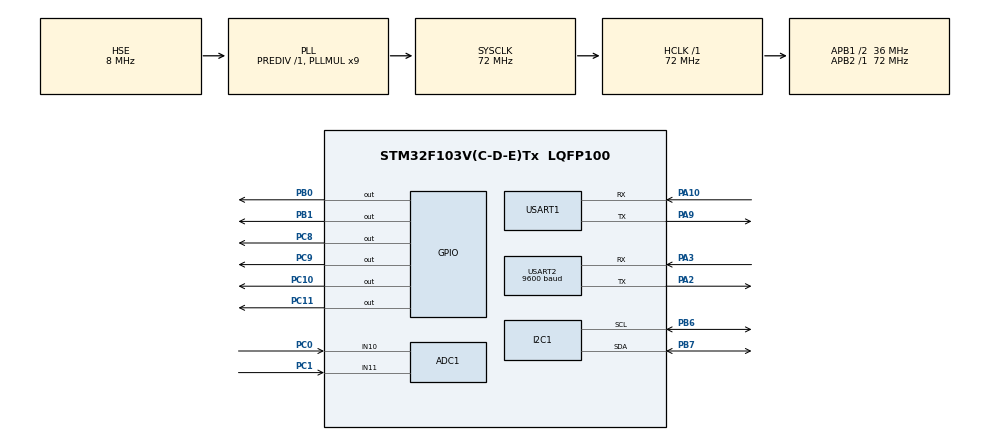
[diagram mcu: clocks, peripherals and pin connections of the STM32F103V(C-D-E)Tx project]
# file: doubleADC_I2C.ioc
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ADC1.Channel-0\#ChannelRegularConversion=ADC_CHANNEL_10
ADC1.Channel-1\#ChannelRegularConversion=ADC_CHANNEL_11
ADC1.ContinuousConvMode=ENABLE
ADC1.NbrOfConversion=2
ADC1.NbrOfConversionFlag=1
ADC1.Rank-0\#ChannelRegularConversion=1
ADC1.Rank-1\#ChannelRegularConversion=2
ADC1.SamplingTime-0\#ChannelRegularConversion=ADC_SAMPLETIME_1CYCLE_5
ADC1.SamplingTime-1\#ChannelRegularConversion=ADC_SAMPLETIME_1CYCLE_5
ADC1.master=1
Dma.ADC1.0.Direction=DMA_PERIPH_TO_MEMORY
Dma.ADC1.0.Instance=DMA1_Channel1
Dma.ADC1.0.MemDataAlignment=DMA_MDATAALIGN_HALFWORD
Dma.ADC1.0.MemInc=DMA_MINC_ENABLE
Dma.ADC1.0.Mode=DMA_CIRCULAR
Dma.ADC1.0.PeriphDataAlignment=DMA_PDATAALIGN_HALFWORD
Dma.ADC1.0.PeriphInc=DMA_PINC_DISABLE
Dma.ADC1.0.Priority=DMA_PRIORITY_HIGH
Dma.Request0=ADC1
Mcu.Family=STM32F1
Mcu.Name=STM32F103V(C-D-E)Tx
Mcu.Package=LQFP100
NVIC.DMA1_Channel1_IRQn=true\:0\:0\:false\:false\:true\:false\:true\:true
NVIC.PriorityGroup=NVIC_PRIORITYGROUP_4
OSC_IN.Mode=HSE-External-Oscillator
OSC_IN.Signal=RCC_OSC_IN
OSC_OUT.Mode=HSE-External-Oscillator
OSC_OUT.Signal=RCC_OSC_OUT
PA10.Mode=Asynchronous
PA10.Signal=USART1_RX
PA2.Mode=Asynchronous
PA2.Signal=USART2_TX
PA3.Mode=Asynchronous
PA3.Signal=USART2_RX
PA9.Mode=Asynchronous
PA9.Signal=USART1_TX
PB0.Signal=GPIO_Output
PB1.Signal=GPIO_Output
PB6.Mode=I2C
PB6.Signal=I2C1_SCL
PB7.Mode=I2C
PB7.Signal=I2C1_SDA
PC0.Signal=ADCx_IN10
PC1.Signal=ADCx_IN11
PC10.Signal=GPIO_Output
PC11.Signal=GPIO_Output
PC8.Signal=GPIO_Output
PC9.Signal=GPIO_Output
ProjectManager.HeapSize=0x200
ProjectManager.StackSize=0x400
ProjectManager.TargetToolchain=MDK-ARM V5
RCC.ADCPresc=RCC_ADCPCLK2_DIV6
RCC.AHBFreq_Value=72000000
RCC.APB1CLKDivider=RCC_HCLK_DIV2
RCC.APB1Freq_Value=36000000
RCC.APB1TimFreq_Value=72000000
RCC.APB2Freq_Value=72000000
RCC.APB2TimFreq_Value=72000000
RCC.HCLKFreq_Value=72000000
RCC.PLLMUL=RCC_PLL_MUL9
RCC.PLLSourceVirtual=RCC_PLLSOURCE_HSE
RCC.SYSCLKFreq_VALUE=72000000
RCC.SYSCLKSource=RCC_SYSCLKSOURCE_PLLCLK
RCC.USBFreq_Value=72000000
SH.ADCx_IN10.0=ADC1_IN10,IN10
SH.ADCx_IN11.0=ADC1_IN11,IN11
USART1.VirtualMode=VM_ASYNC
USART2.BaudRate=9600
USART2.VirtualMode=VM_ASYNC
VP_SYS_VS_ND.Mode=No_Debug
board=custom

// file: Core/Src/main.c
/* USER CODE BEGIN Header */
/**
 ******************************************************************************
 * @file           : main.c
 * @brief          : Main program body
 ******************************************************************************
 * @attention
 *
 * Copyright (c) 2023 STMicroelectronics.
 * All rights reserved.
 *
 * This software is licensed under terms that can be found in the LICENSE file
 * in the root directory of this software component.
 * If no LICENSE file comes with this software, it is provided AS-IS.
 *
 * 李萨如图形演示装置软件程序，ADC双通道采样x、y轴信号，GPIO引脚输出高低电平控制4051选择合适的电路通路，输出指定频率、波形的信号。
 * 对一次采样的点进行分析处理后，计算两信号相位差，计算得到峰峰值，反馈调节数字电阻TPA0401的分压阻值，实现信号幅度控制。
 * 与广州大彩串口屏串口通讯，打印设定值，打印李萨如图形。
 ******************************************************************************
 */
/* USER CODE END Header */
#include "main.h"
#include "adc.h"
#include "dma.h"
#include "i2c.h"
#include "usart.h"
#include "gpio.h"

/* USER CODE BEGIN Includes */
#include <stdio.h>
#include "hmi_driver.h"
#include "hmi_user_uart.h"
#include "fft.h"
/* USER CODE END Includes */

/* USER CODE BEGIN PD */
#define ADC_BUFFER_LENGTH 2048
#define NPT 1024
#define Fs 321428
#define Pi 3.1415
/* USER CODE END PD */

/* USER CODE BEGIN PV */
uint8_t Counter_Freq = 1;     // 4 pins
uint8_t Selecter_Voltage = 1; // 3 pins
uint8_t Wave_Form = 0;        // 0 is 三角波，1 is 正弦波
uint8_t Output_Mode = 0;      // 0 for 4 pins, 1 for 3 pins
uint16_t ADC_Value[ADC_BUFFER_LENGTH];
uchar stringtemp[100];
uchar Res = 0x1A;
uchar Res_High = 0x7F;
uchar Res_Low = 0x00;

float PC0_Max = 0, PC1_Max = 0;
uint32_t PC0_MaxIndex, PC0_MinIndex, PC1_MaxIndex, PC1_MinIndex;
float PC0_Min = 4095, PC1_Min = 4095;
float PC0_Vpp = 0;
float PC1_Vpp = 0;
float PC0_Real[NPT];
float PC1_Real[NPT];
float PC1_Out[NPT],PC1_Mag[NPT];
float phase;

/* USER CODE END PV */

void SystemClock_Config(void);

/* USER CODE BEGIN 0 */
/** 按键按下标置宏
 * 按键按下为高电平，设置 KEY_ON=1， KEY_OFF=0
 * 若按键按下为低电平，把宏设置成KEY_ON=0 ，KEY_OFF=1 即可
 */
#define KEY_ON 1
#define KEY_OFF 0

/**
 * @brief   检测是否有按键按下
 * @param  GPIOx:具体的端口, x可以是（A...G）
 * @param  GPIO_PIN:具体的端口位， 可以是GPIO_PIN_x（x可以是0...15）
 * @retval  按键的状态
 *     @arg KEY_ON:按键按下
 *     @arg KEY_OFF:按键没按下
 */
uint8_t Key_Scan(GPIO_TypeDef *GPIOx, uint16_t GPIO_Pin)
{
  /*检测是否有按键按下 */
  if (HAL_GPIO_ReadPin(GPIOx, GPIO_Pin) == KEY_ON)
  {
    /*等待按键释放 */
    while (HAL_GPIO_ReadPin(GPIOx, GPIO_Pin) == KEY_ON)
      ;
    return KEY_ON;
  }
  else
    return KEY_OFF;
}

int fputc(int ch, FILE *f)
{
  HAL_UART_Transmit(&huart1, (uint8_t *)&ch, 1, 0xFFFF);
  return ch;
}

int Set_Signal_Value(int set_value, int Vpp, uchar *address, uchar *address_high, uchar *address_low)
{
  int set_value_mid = set_value * 40960 / 33;
  int set_value_min = set_value_mid - 150;
  int set_value_max = set_value_mid + 150;
  if (Vpp > set_value_max + 1000)
  {
    (*address) = *address - 4;
  }
  else if (Vpp < set_value_min - 1000)
  {
    (*address) = *address + 4;
  }
  else if (Vpp > set_value_max)
  {
    (*address) = *address - 1;
  }
  else if (Vpp < set_value_min)
  {
    (*address) = *address + 1;
  }
}

void Lissajous_Figures(uint16 *xdata, uint16 *ydata, uint16 x0, uint16 y0, uint16 N)
{
  for (int i = 0; i < N - 3; i += 2)
  {
    uint16 x_start = ADC_Value[i] / 16 + x0;
    uint16 y_start = ADC_Value[i + 1] / 16 + y0;
    GUI_Dot(x_start, y_start);
  }
}
void HAL_GPIO_EXTI_Callback(uint16_t GPIO_Pin)
{
  /* EXTI line interrupt detected */
  if (GPIO_Pin == GPIO_PIN_0)
  {
    HAL_GPIO_TogglePin(GPIOB, GPIO_PIN_1);
    if (Output_Mode == 0)
    {
      Counter_Freq = (Counter_Freq) % 5 + 1;
      printf("Counter_Freq = %d, Selecter_Voltage = %d, Output_Mode = %d\r\n", Counter_Freq, Selecter_Voltage,
             Output_Mode); // 0 for Freq, 1 for Voltage
    }
    else if (Output_Mode == 1)
    {
      Selecter_Voltage = (Selecter_Voltage) % 3 + 1;
      Res = 0x40;
      Res_High = 0x7F;
      Res_Low = 0x00;
      Set_TPL0401A_Value(Res);
      printf("Counter_Freq = %d, Selecter_Voltage = %d, Output_Mode = %d\r\n", Counter_Freq, Selecter_Voltage,
             Output_Mode); // 0 for Freq, 1 for Voltage
    }
    else if (Output_Mode == 2)
    {
      Wave_Form = 1 - Wave_Form;
      if (Wave_Form)
      {
        printf("output sine wave \r\n");
      }
      else
      {
        printf("output Triangle Wave \r\n ");
      }
    }
  }

  if (GPIO_Pin == GPIO_PIN_13)
  {
    HAL_GPIO_TogglePin(GPIOB, GPIO_PIN_0);
    Output_Mode = Output_Mode == 3 ? 0 : Output_Mode + 1;
    if (Wave_Form)
    {
      printf("output sine wave  ");
    }
    else
    {
      printf("output Triangle Wave  ");
    }
    printf("Counter_Freq = %d, Selecter_Voltage = %d, Output_Mode = %d, Res = %d\r\n", Counter_Freq, Selecter_Voltage,
           Output_Mode, Res); // 0 for Freq, 1 for Voltage

    if (Output_Mode == 1)
    {
      printf("select voltage ---> \r\n");
    }
    else if (Output_Mode == 0)
    {
      printf("select frequency ---> \r\n");
    }
    else
    {
      printf("select waveform ---> \r\n");
    }
  }
}
int Select_Max_Number(float *pData, int N)
{
    for (int i = 1; i < N; i++)
    {
        if (pData[i] > pData[i - 1] && pData[i] >= pData[i + 1])
        {
            printf("%d,%d,%d\n", pData[i - 1], pData[i], pData[i + 1]);
            return i;
        }
    }
}
/* USER CODE END 0 */

int main(void)
{

  /* MCU Configuration--------------------------------------------------------*/

  /* Reset of all peripherals, Initializes the Flash interface and the Systick. */
  HAL_Init();

  /* Configure the system clock */
  SystemClock_Config();

  /* Initialize all configured peripherals */
  MX_GPIO_Init();
  MX_DMA_Init();
  MX_ADC1_Init();
  MX_I2C1_Init();
  MX_USART1_UART_Init();
  MX_USART2_UART_Init();
  /* USER CODE BEGIN 2 */
  TPL0401A_Init();
  /* USER CODE END 2 */

  /* Infinite loop */
  /* USER CODE BEGIN WHILE */
  SetBcolor(0x0000);
  SetFcolor(0x0000); // black
  GUI_RectangleFill(50, 200, 50 + 300, 200 + 300);
  SetFcolor(0x07E0); // light green
  while (1)
  {
    switch (Counter_Freq)
    {
    case 1: // 一倍频，选择频率八路选择器的1端
      HAL_GPIO_WritePin(GPIOC, GPIO_PIN_8, 0);
      HAL_GPIO_WritePin(GPIOC, GPIO_PIN_9, 0);
      HAL_GPIO_WritePin(GPIOC, GPIO_PIN_10, 0);
      HAL_GPIO_WritePin(GPIOC, GPIO_PIN_11, 0);
      HAL_GPIO_WritePin(GPIOB, GPIO_PIN_8, 1);
      if (Wave_Form == 0) // 三角波输出，在滤波八路选择的0端
      {
        HAL_GPIO_WritePin(GPIOC, GPIO_PIN_6, 0);
        HAL_GPIO_WritePin(GPIOC, GPIO_PIN_7, 0);
      }
      else // 一倍频，1.5k-2k，选择2k滤波器，滤波八路选择的1端
      {
        HAL_GPIO_WritePin(GPIOC, GPIO_PIN_6, 1);
        HAL_GPIO_WritePin(GPIOC, GPIO_PIN_7, 0);
      }
      break;
    case 2: // 二倍频，选择频率八路选择器的0端，计数器设置为14
      HAL_GPIO_WritePin(GPIOC, GPIO_PIN_8, 0);
      HAL_GPIO_WritePin(GPIOC, GPIO_PIN_9, 1);
      HAL_GPIO_WritePin(GPIOC, GPIO_PIN_10, 1);
      HAL_GPIO_WritePin(GPIOC, GPIO_PIN_11, 1);
      HAL_GPIO_WritePin(GPIOB, GPIO_PIN_8, 0);
      if (Wave_Form == 0)
      {
        HAL_GPIO_WritePin(GPIOC, GPIO_PIN_6, 0);
        HAL_GPIO_WritePin(GPIOC, GPIO_PIN_7, 0);
      }
      else // 二倍频，3k-4k，选择频率八路选择的2端
      {
        HAL_GPIO_WritePin(GPIOC, GPIO_PIN_6, 0);
        HAL_GPIO_WritePin(GPIOC, GPIO_PIN_7, 1);
      }
      break;
    case 3: // 三倍频，选择频率八路选择器的0端，计数器设置为13
      HAL_GPIO_WritePin(GPIOC, GPIO_PIN_8, 1);
      HAL_GPIO_WritePin(GPIOC, GPIO_PIN_9, 0);
      HAL_GPIO_WritePin(GPIOC, GPIO_PIN_10, 1);
      HAL_GPIO_WritePin(GPIOC, GPIO_PIN_11, 1);
      HAL_GPIO_WritePin(GPIOB, GPIO_PIN_8, 0);
      if (Wave_Form == 0)
      {
        HAL_GPIO_WritePin(GPIOC, GPIO_PIN_6, 0);
        HAL_GPIO_WritePin(GPIOC, GPIO_PIN_7, 0);
      }
      else // 三倍频，4.5k-6k，选择频率八路选择的2端
      {
        HAL_GPIO_WritePin(GPIOC, GPIO_PIN_6, 0);
        HAL_GPIO_WritePin(GPIOC, GPIO_PIN_7, 1);
      }
      break;
    case 4: // 四倍频，选择频率八路选择器的0端，计数器设置为12
      HAL_GPIO_WritePin(GPIOC, GPIO_PIN_8, 0);
      HAL_GPIO_WritePin(GPIOC, GPIO_PIN_9, 0);
      HAL_GPIO_WritePin(GPIOC, GPIO_PIN_10, 1);
      HAL_GPIO_WritePin(GPIOC, GPIO_PIN_11, 1);
      HAL_GPIO_WritePin(GPIOB, GPIO_PIN_8, 0);
      if (Wave_Form == 0)
      {
        HAL_GPIO_WritePin(GPIOC, GPIO_PIN_6, 0);
        HAL_GPIO_WritePin(GPIOC, GPIO_PIN_7, 0);
      }
      else // 四倍频，6k-8k，选择频率八路选择的3端
      {
        HAL_GPIO_WritePin(GPIOC, GPIO_PIN_6, 1);
        HAL_GPIO_WritePin(GPIOC, GPIO_PIN_7, 1);
      }
      break;
    case 5: // 五倍频，选择频率八路选择器的0端，计数器设置为11
      HAL_GPIO_WritePin(GPIOC, GPIO_PIN_8, 1);
      HAL_GPIO_WritePin(GPIOC, GPIO_PIN_9, 1);
      HAL_GPIO_WritePin(GPIOC, GPIO_PIN_10, 0);
      HAL_GPIO_WritePin(GPIOC, GPIO_PIN_11, 1);
      HAL_GPIO_WritePin(GPIOB, GPIO_PIN_8, 0);
      if (Wave_Form == 0)
      {
        HAL_GPIO_WritePin(GPIOC, GPIO_PIN_6, 0);
        HAL_GPIO_WritePin(GPIOC, GPIO_PIN_7, 0);
      }
      else // 五倍频，7.5k-10k，选择频率八路选择的3端
      {
        HAL_GPIO_WritePin(GPIOC, GPIO_PIN_6, 1);
        HAL_GPIO_WritePin(GPIOC, GPIO_PIN_7, 1);
      }
      break;
    }

    ADC_ConversionStop_Disable(&hadc1);
    HAL_ADC_Start_DMA(&hadc1, (uint32_t *)&ADC_Value, ADC_BUFFER_LENGTH);
    HAL_Delay(20);
    HAL_GPIO_TogglePin(GPIOB, GPIO_PIN_1); // LED_Blue
    // SetTextValue(0,1,(uchar *)"hello,world!");
    // SetTextInt32(0,5,ADC_Value[0],0,4);

    PC0_Max = 0, PC1_Max = 0;
    PC0_Min = 4095, PC1_Min = 4095;
    PC0_Vpp = 0;
    PC1_Vpp = 0;

    for (int i = 0; i < NPT; i++)
    {
      PC0_Real[i] = (float)ADC_Value[i * 2];
      PC1_Real[i] = (float)ADC_Value[i * 2 + 1];
    }

    arm_max_f32(PC0_Real, NPT, &PC0_Max, &PC0_MaxIndex); // find max value of fft_in_buf[]
    arm_min_f32(PC0_Real, NPT, &PC0_Min, &PC0_MinIndex); // find min value of fft_in_buf[]
    PC0_Vpp = PC0_Max - PC0_Min;
    arm_max_f32(PC1_Real, NPT, &PC1_Max, &PC1_MaxIndex); // find max value of fft_in_buf[]
    arm_min_f32(PC1_Real, NPT, &PC1_Min, &PC1_MinIndex); // find min value of fft_in_buf[]
    PC1_Vpp = PC1_Max - PC1_Min;
    HAL_GPIO_TogglePin(GPIOB, GPIO_PIN_0); // LED_Green

    Set_Signal_Value(Selecter_Voltage, PC1_Vpp, &Res, &Res_High, &Res_Low);
    Set_TPL0401A_Value(Res);

    int t0 = Select_Max_Number(PC0_Real, NPT);
    int t1 = Select_Max_Number(PC1_Real, NPT);
    FFT(PC1_Real,PC1_Out,NPT);
    FFT_Power_Mag(PC1_Out,PC1_Mag,NPT);
    PC1_Mag[0] = 0;
    PC1_Mag[1] = 0;
    int PC1_Mag_MaxIndex;
    float PC1_Mag_Max;
    arm_max_f32(PC1_Mag,50,&PC1_Mag_Max,&PC1_Mag_MaxIndex);

    float f1 = PC1_Mag_MaxIndex * Fs / NPT;
    float f0 = f1 / Counter_Freq;

    phase = 2 * Pi * (f0 *t0 - f1 * t1 ) / Fs;

   // printf("f0 = %.2f,t0 = %d ,f1 = %.2f ,t1 = %d\r\n",f0,t0,f1,t1);
    if (phase < 0)
        phase += 2 * Pi;
    sprintf(stringtemp, "Counter_Freq = %d, Selecter_Voltage = %d, Output_Mode = %d, Res = %d, phase = %.2f\r\n", Counter_Freq, Selecter_Voltage,
            Output_Mode, Res, phase);
    if (Output_Mode != 3)
      SetTextValue(3, 5, stringtemp);

    if (Output_Mode == 3)
      Lissajous_Figures(&ADC_Value[0], &ADC_Value[1], 50, 100, ADC_BUFFER_LENGTH);

    // free(ADC_Value);
    // void HAL_NVIC_DisableIRQ(IRQn_Type IRQn);

    /* USER CODE END WHILE */

    /* USER CODE BEGIN 3 */
    // HAL_Delay(1000);
  }
  /* USER CODE END 3 */
}

void SystemClock_Config(void)
{
  RCC_OscInitTypeDef RCC_OscInitStruct = {0};
  RCC_ClkInitTypeDef RCC_ClkInitStruct = {0};
  RCC_PeriphCLKInitTypeDef PeriphClkInit = {0};

  /** Initializes the RCC Oscillators according to the specified parameters
   * in the RCC_OscInitTypeDef structure.
   */
  RCC_OscInitStruct.OscillatorType = RCC_OSCILLATORTYPE_HSE;
  RCC_OscInitStruct.HSEState = RCC_HSE_ON;
  RCC_OscInitStruct.HSEPredivValue = RCC_HSE_PREDIV_DIV1;
  RCC_OscInitStruct.HSIState = RCC_HSI_ON;
  RCC_OscInitStruct.PLL.PLLState = RCC_PLL_ON;
  RCC_OscInitStruct.PLL.PLLSource = RCC_PLLSOURCE_HSE;
  RCC_OscInitStruct.PLL.PLLMUL = RCC_PLL_MUL9;
  if (HAL_RCC_OscConfig(&RCC_OscInitStruct) != HAL_OK)
  {
    Error_Handler();
  }

  /** Initializes the CPU, AHB and APB buses clocks
   */
  RCC_ClkInitStruct.ClockType = RCC_CLOCKTYPE_HCLK | RCC_CLOCKTYPE_SYSCLK | RCC_CLOCKTYPE_PCLK1 | RCC_CLOCKTYPE_PCLK2;
  RCC_ClkInitStruct.SYSCLKSource = RCC_SYSCLKSOURCE_PLLCLK;
  RCC_ClkInitStruct.AHBCLKDivider = RCC_SYSCLK_DIV1;
  RCC_ClkInitStruct.APB1CLKDivider = RCC_HCLK_DIV2;
  RCC_ClkInitStruct.APB2CLKDivider = RCC_HCLK_DIV1;

  if (HAL_RCC_ClockConfig(&RCC_ClkInitStruct, FLASH_LATENCY_2) != HAL_OK)
  {
    Error_Handler();
  }
  PeriphClkInit.PeriphClockSelection = RCC_PERIPHCLK_ADC;
  PeriphClkInit.AdcClockSelection = RCC_ADCPCLK2_DIV8;
  if (HAL_RCCEx_PeriphCLKConfig(&PeriphClkInit) != HAL_OK)
  {
    Error_Handler();
  }
}

void Error_Handler(void)
{
  __disable_irq();
  while (1)
  {
  }
}
